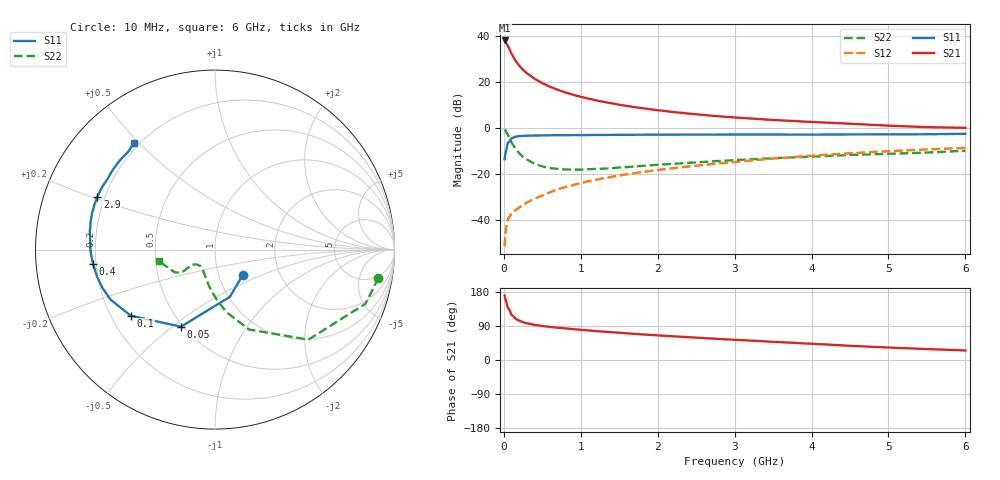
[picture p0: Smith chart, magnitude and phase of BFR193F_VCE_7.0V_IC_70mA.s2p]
! Infineon Technologies  Discrete & RF Semiconductors
! BFR193F
! VCE =  7.0 V,  IC =  70 mA
! Common Emitter S-Parameters:  Jan 2017
# GHz  S  MA  R  50
!  f  S11  S21  S12  S22
! GHz  MAG  ANG  MAG  ANG  MAG  ANG  MAG  ANG
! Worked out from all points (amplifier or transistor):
!   77 points, 10 MHz to 6 GHz, reference 50 ohm
!   highest |S21| = 38.0 dB at 10 MHz (marker M1)
!   |S21| within 3 dB of that: start of sweep to 60.99 MHz
!   unconditionally stable (mu >= 1): 760.7 MHz to 2.452 GHz
!   at 130 MHz: K = 0.54, MSG = 33.4 dB, |S12| = -36.2 dB
!   at 2.2 GHz: K = 1.02, MAG = 11.5 dB, |S12| = -17.5 dB
!   at 6 GHz: K = 0.86, MSG = 4.4 dB, |S12| = -8.7 dB
!   S11 on the Smith chart (normalised r, x): 10 MHz: 1.30, -0.38; 50 MHz: 0.49, -0.54; 100 MHz: 0.28, -0.32; 400 MHz: 0.19, -0.05; 2.9 GHz: 0.17, +0.21; 6 GHz: 0.18, +0.48
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0.01  0.2091 -42.3  79.5 170.2  0.0027 82.9  0.9239 -9.8
0.02  0.2759 -72.4  76.3 160.6  0.005 78.3  0.8912 -19.8
0.05  0.4694 -113.8  61.28 138.8  0.01 63.0  0.7225 -44.0
0.1  0.5968 -141.9  40.62 118.8  0.0139 54.7  0.4834 -67.0
0.15  0.6452 -154.4  29.25 109.3  0.0164 53.2  0.3544 -79.6
0.2  0.6625 -161.2  22.58 103.4  0.0188 55.2  0.2828 -87.6
0.25  0.6713 -165.8  18.29 99.7  0.0213 58.5  0.2334 -94.3
0.3  0.6768 -168.8  15.39 96.9  0.0241 61.3  0.2049 -99.5
0.4  0.6844 -173.5  11.64 92.6  0.0289 64.6  0.1656 -108.0
0.5  0.6884 -176.4  9.372 89.8  0.0343 68.3  0.1457 -114.5
0.6  0.6924 -178.8  7.846 87.3  0.04 70.1  0.1339 -120.3
0.7  0.6954 179.0  6.742 85.1  0.0466 71.4  0.129 -125.0
0.8  0.6941 177.6  5.9 83.3  0.0521 72.5  0.1252 -129.4
0.9  0.6987 175.8  5.264 81.4  0.0572 73.2  0.1236 -132.4
1.1  0.7022 173.1  4.324 78.0  0.0694 74.3  0.127 -136.9
1.5  0.7085 168.4  3.202 71.9  0.0926 75.1  0.1381 -143.1
2.1  0.7145 162.7  2.323 63.8  0.1276 74.8  0.1622 -146.1
2.9  0.7183 156.0  1.738 54.4  0.1758 73.0  0.1955 -145.9
3.1  0.7186 154.3  1.649 52.3  0.1886 72.5  0.2036 -145.6
4.1  0.7174 145.6  1.326 41.8  0.2554 68.5  0.2415 -148.0
5.1  0.7268 135.8  1.104 32.1  0.3179 62.8  0.2772 -158.1
6  0.7452 127.4  1.005 25.2  0.368 57.4  0.3194 -168.5
